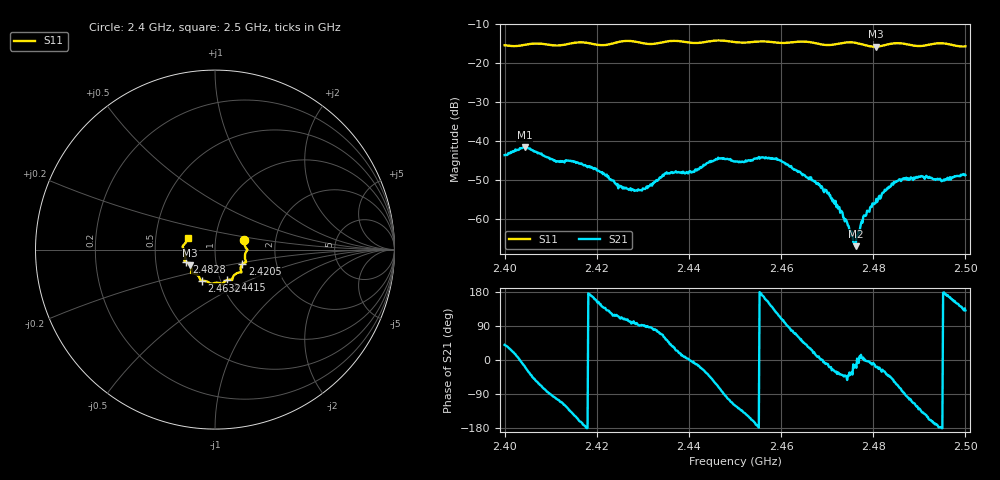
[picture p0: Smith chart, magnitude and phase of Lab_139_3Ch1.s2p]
# Hz S RI R 50
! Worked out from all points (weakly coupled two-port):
!   601 points, 2.4 GHz to 2.5 GHz, reference 50 ohm
!   highest |S21| = -41.56 dB at 2.4043 GHz (marker M1); lowest = -66.9 dB at 2.4762 GHz (marker M2)
!   lowest |S11| = -15.7 dB at 2.4805 GHz (marker M3), VSWR 1.39, Z = 37.3 - j6.68 ohm
!   |S11| at or under -10 dB: start of sweep to end of sweep
!   S12 and S22 are empty: the file has one direction only
!   S11 on the Smith chart (normalised r, x): 2.4 GHz: 1.38, +0.15; 2.4205 GHz: 1.34, -0.22; 2.4415 GHz: 1.07, -0.38; 2.4632 GHz: 0.82, -0.29; 2.4828 GHz: 0.72, -0.10; 2.5 GHz: 0.73, +0.10
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2.4e9  0.1632 0.0516  0.0051 0.00427  0 0  0 0
2.404333e9  0.1729 0.0081  0.00803 -0.00233  0 0  0 0
2.411e9  0.1681 -0.0257  -0.000932 -0.00551  0 0  0 0
2.416667e9  0.1731 -0.0697  -0.00501 -0.00139  0 0  0 0
2.4205e9  0.1518 -0.0816  -0.00362 0.00201  0 0  0 0
2.425167e9  0.1464 -0.1224  -0.000867 0.00249  0 0  0 0
2.428333e9  0.1427 -0.1267  -0.000308 0.00231  0 0  0 0
2.433333e9  0.1006 -0.1518  0.000865 0.00309  0 0  0 0
2.4415e9  0.0655 -0.1705  0.00428 -0.00086  0 0  0 0
2.446333e9  0.0412 -0.1929  0.00213 -0.00578  0 0  0 0
2.45e9  0.0243 -0.1862  -0.00279 -0.00478  0 0  0 0
2.4585e9  -0.0348 -0.1832  -0.004 0.00436  0 0  0 0
2.463167e9  -0.0731 -0.174  0.00148 0.00403  0 0  0 0
2.466667e9  -0.0817 -0.1672  0.00283 0.00141  0 0  0 0
2.472167e9  -0.12 -0.1309  0.00122 -0.000911  0 0  0 0
2.476167e9  -0.1331 -0.1274  0.000438 -0.0001  0 0  0 0
2.478333e9  -0.1305 -0.1109  0.0011 -3.89e-05  0 0  0 0
2.4805e9  -0.1388 -0.0872  0.00153 -0.000504  0 0  0 0
2.482833e9  -0.1588 -0.0703  0.00186 -0.00144  0 0  0 0
2.483333e9  -0.1625 -0.0684  0.00198 -0.00168  0 0  0 0
2.486667e9  -0.1695 -0.0578  0.000211 -0.00327  0 0  0 0
2.5e9  -0.1526 0.0644  -0.00241 0.00279  0 0  0 0
